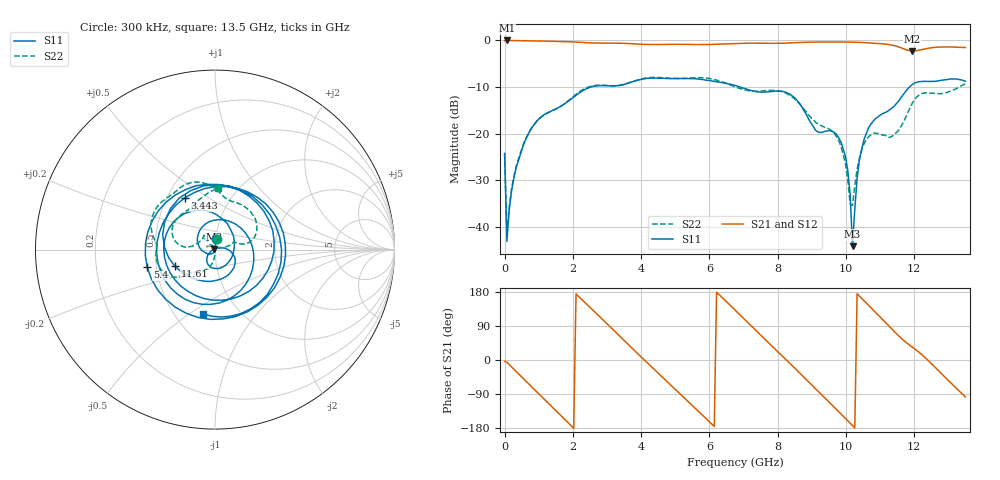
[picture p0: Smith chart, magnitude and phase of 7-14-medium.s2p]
!Agilent Technologies,N5230C,MY48100320,A.08.04.10
!Agilent N5230C: A.08.04.10
!Date: Friday, July 15, 2016 04:15:09
!Correction: S11(Full 2 Port(1,2))
!S21(Full 2 Port(1,2))
!S12(Full 2 Port(1,2))
!S22(Full 2 Port(1,2))
!S2P File: Measurements: S11, S21, S12, S22:
# Hz S  dB  R 50
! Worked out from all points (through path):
!   201 points, 300 kHz to 13.5 GHz, reference 50 ohm
!   highest |S21| = -0.01 dB at 67.8 MHz (marker M1); lowest = -2.3 dB at 11.95 GHz (marker M2)
!   group delay of S21, straight-line fit = 242 ps
!   lowest |S11| = -44.2 dB at 10.19 GHz (marker M3), VSWR 1.01, Z = 49.4 + j0.264 ohm
!   |S11| at or under -10 dB: start of sweep to 2.534 GHz; 6.893 GHz to 11.86 GHz (4.971 GHz wide, 53 % of centre)
!   |S22| runs from -41.6 to -7.9 dB; largest |S21 - S12| = 0.0058
!   S11 on the Smith chart (normalised r, x): 300 kHz: 1.01, +0.12; 3.443 GHz: 0.61, +0.40; 5.4 GHz: 0.44, -0.10; 11.61 GHz: 0.63, -0.12; 13.5 GHz: 0.69, -0.57
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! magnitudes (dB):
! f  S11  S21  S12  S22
! 300 kHz  -24.3  -0.1  0.0  -24.3
! 67.8 MHz  -43.2  0.0  0.0  -41.6
! 135.3 MHz  -36.4  0.0  0.0  -35.8
! 270.3 MHz  -29.6  0.0  0.0  -29.3
! 742.8 MHz  -19.4  -0.1  -0.1  -19.4
! 2.295 GHz  -10.8  -0.5  -0.5  -10.6
! 3.443 GHz  -9.5  -0.6  -0.6  -9.6
! 4.523 GHz  -8.1  -0.9  -0.9  -8.0
! 5.4 GHz  -8.2  -0.9  -0.9  -8.1
! 6.75 GHz  -9.7  -0.7  -0.7  -10.0
! 8.37 GHz  -11.6  -0.5  -0.5  -11.9
! 9.045 GHz  -18.6  -0.4  -0.4  -17.1
! 9.855 GHz  -21.8  -0.4  -0.3  -22.8
! 10.06 GHz  -28.1  -0.4  -0.4  -30.2
! 10.13 GHz  -33.2  -0.4  -0.4  -35.2
! 10.19 GHz  -44.2  -0.4  -0.4  -35.4
! 10.33 GHz  -29.6  -0.4  -0.4  -27.6
! 10.53 GHz  -21.3  -0.5  -0.5  -22.2
! 11.27 GHz  -14.9  -0.9  -0.9  -20.9
! 11.61 GHz  -12.3  -1.6  -1.6  -18.5
! 11.95 GHz  -9.5  -2.3  -2.3  -13.4
! 13.5 GHz  -8.8  -1.5  -1.5  -9.3
